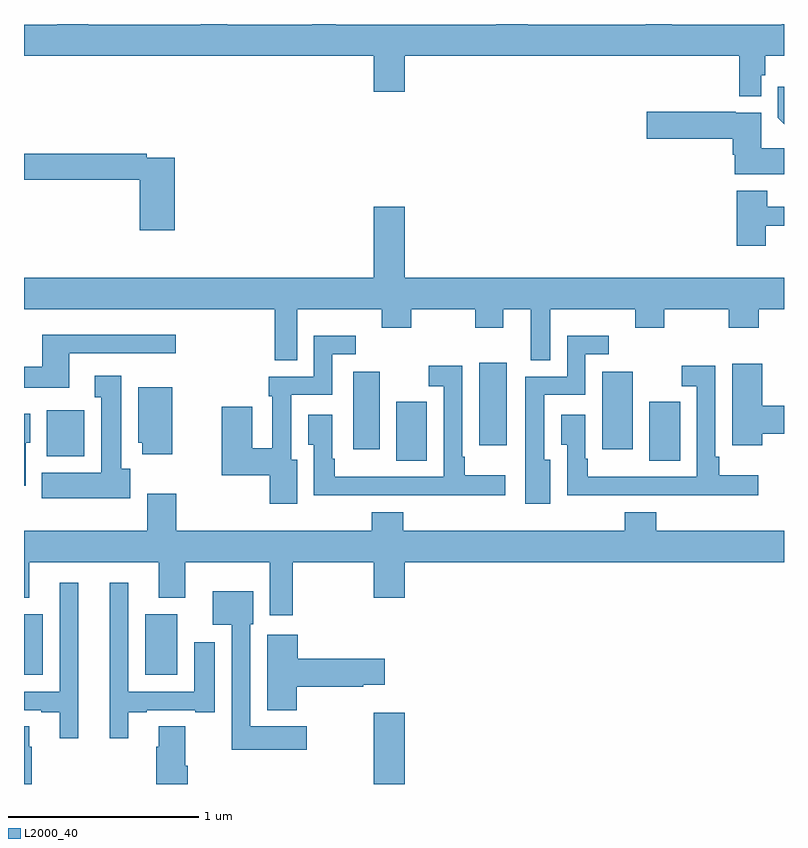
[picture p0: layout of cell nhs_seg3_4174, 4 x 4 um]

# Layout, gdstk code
import gdstk
lib = gdstk.Library(unit=1e-6, precision=1e-09)
def R(c, l, rs):  # rectangles x0, y0, x1, y1
    for r in rs: c.add(gdstk.rectangle(r[:2], r[2:], *l))
def P(c, l, *ps):  # polygons
    for p in ps: c.add(gdstk.Polygon(p, *l))
L2000_40 = (2000, 40)

nhs_seg3_4174 = lib.new_cell('nhs_seg3_4174')
R(nhs_seg3_4174, L2000_40, [(332.84,714.4,333.004,714.775), (331,714.974,331.099,715.294), (331.637,714.974,331.807,715.294), (332.96,716.101,333.121,716.412), (334.292,716.101,334.453,716.412), (331.121,716.126,331.318,716.368), (332.732,716.163,332.872,716.569), (334.043,716.163,334.204,716.569), (333.395,716.184,333.541,716.617)])
P(nhs_seg3_4174, L2000_40, [(334.881,718.131),(334.901,718.131),(334.901,718.232),(335,718.232),(335,718.4),(334.987,718.4),(334.987,718.396),(334.409,718.396),(334.409,718.4),(334.273,718.4),(334.273,718.396),(333.65,718.396),(333.65,718.4),(333.485,718.4),(333.485,718.396),(332.642,718.396),(332.642,718.4),(332.516,718.4),(332.516,718.396),(332.071,718.396),(332.071,718.4),(331.931,718.4),(331.931,718.396),(331.339,718.396),(331.339,718.4),(331.175,718.4),(331.175,718.396),(331,718.396),(331,718.232),(332.84,718.232),(332.84,718.044),(333.004,718.044),(333.004,718.232),(334.765,718.232),(334.765,718.019),(334.881,718.019)],
  [(335,718.069),(334.966,718.069),(334.966,717.906),(335,717.872)],
  [(335,717.746),(334.879,717.746),(334.879,717.934),(334.746,717.934),(334.746,717.939),(334.278,717.939),(334.278,717.797),(334.73,717.797),(334.73,717.713),(334.742,717.713),(334.742,717.608),(335,717.608)],
  [(331.793,717.696),(331.646,717.696),(331.646,717.716),(331,717.716),(331,717.58),(331.61,717.58),(331.61,717.315),(331.793,717.315)],
  [(334.903,717.339),(335,717.339),(335,717.439),(334.911,717.439),(334.911,717.523),(334.751,717.523),(334.751,717.234),(334.903,717.234)],
  [(332.437,716.9),(332.884,716.9),(332.884,716.801),(333.039,716.801),(333.039,716.9),(333.376,716.9),(333.376,716.801),(333.523,716.801),(333.523,716.9),(333.668,716.9),(333.668,716.629),(333.769,716.629),(333.769,716.9),(334.216,716.9),(334.216,716.801),(334.371,716.801),(334.371,716.9),(334.708,716.9),(334.708,716.801),(334.868,716.801),(334.868,716.9),(335,716.9),(335,717.064),(333.004,717.064),(333.004,717.439),(332.84,717.439),(332.84,717.064),(331,717.064),(331,716.9),(332.319,716.9),(332.319,716.629),(332.437,716.629)],
  [(331.237,716.667),(331.798,716.667),(331.798,716.764),(331.097,716.764),(331.097,716.596),(331.001,716.596),(331.001,716.583),(331,716.583),(331,716.486),(331.237,716.486)],
  [(332.437,716.107),(332.407,716.107),(332.407,716.448),(332.622,716.448),(332.622,716.661),(332.746,716.661),(332.746,716.758),(332.526,716.758),(332.526,716.544),(332.289,716.544),(332.289,716.441),(332.306,716.441),(332.306,716.168),(332.2,716.168),(332.2,716.386),(332.042,716.386),(332.042,716.026),(332.294,716.026),(332.294,715.875),(332.437,715.875)],
  [(333.769,716.107),(333.739,716.107),(333.739,716.448),(333.954,716.448),(333.954,716.661),(334.078,716.661),(334.078,716.758),(333.858,716.758),(333.858,716.544),(333.638,716.544),(333.638,715.875),(333.769,715.875)],
  [(334.886,716.243),(335,716.243),(335,716.39),(334.886,716.39),(334.886,716.611),(334.727,716.611),(334.727,716.184),(334.886,716.184)],
  [(334.079,715.92),(334.445,715.92),(334.445,715.919),(334.864,715.919),(334.864,716.026),(334.658,716.026),(334.658,716.122),(334.638,716.122),(334.638,716.602),(334.461,716.602),(334.461,716.493),(334.542,716.493),(334.542,716.016),(334.196,716.016),(334.196,716.017),(333.967,716.017),(333.967,716.113),(333.954,716.113),(333.954,716.344),(333.827,716.344),(333.827,716.185),(333.858,716.185),(333.858,715.919),(334.079,715.919)],
  [(332.747,715.92),(333.113,715.92),(333.113,715.919),(333.532,715.919),(333.532,716.026),(333.319,716.026),(333.319,716.122),(333.306,716.122),(333.306,716.602),(333.129,716.602),(333.129,716.493),(333.21,716.493),(333.21,716.016),(332.864,716.016),(332.864,716.017),(332.635,716.017),(332.635,716.113),(332.622,716.113),(332.622,716.344),(332.495,716.344),(332.495,716.185),(332.526,716.185),(332.526,715.919),(332.747,715.919)],
  [(331.558,716.058),(331.513,716.058),(331.513,716.548),(331.373,716.548),(331.373,716.435),(331.406,716.435),(331.406,716.038),(331.094,716.038),(331.094,715.904),(331.558,715.904)],
  [(331.78,716.488),(331.601,716.488),(331.601,716.196),(331.622,716.196),(331.622,716.136),(331.78,716.136)],
  [(331.009,716.196),(331.033,716.196),(331.033,716.35),(331,716.35),(331,715.97),(331.009,715.97)],
  [(332.415,715.568),(332.84,715.568),(332.84,715.38),(333.004,715.38),(333.004,715.568),(335,715.568),(335,715.732),(334.328,715.732),(334.328,715.831),(334.163,715.831),(334.163,715.732),(332.996,715.732),(332.996,715.831),(332.831,715.831),(332.831,715.732),(331.802,715.732),(331.802,715.927),(331.649,715.927),(331.649,715.732),(331,715.732),(331,715.379),(331.027,715.379),(331.027,715.568),(331.709,715.568),(331.709,715.379),(331.849,715.379),(331.849,715.568),(332.294,715.568),(332.294,715.287),(332.415,715.287)],
  [(331.285,715.459),(331.188,715.459),(331.188,714.885),(331,714.885),(331,714.789),(331.091,714.789),(331.091,714.777),(331.187,714.777),(331.187,714.642),(331.285,714.642)],
  [(331.549,714.777),(331.645,714.777),(331.645,714.789),(331.901,714.789),(331.901,714.777),(332.005,714.777),(332.005,715.147),(331.895,715.147),(331.895,714.885),(331.548,714.885),(331.548,715.459),(331.451,715.459),(331.451,714.642),(331.549,714.642)],
  [(332.488,714.703),(332.19,714.703),(332.19,715.242),(332.206,715.242),(332.206,715.414),(331.994,715.414),(331.994,715.238),(332.094,715.238),(332.094,714.581),(332.488,714.581)],
  [(332.436,714.911),(332.786,714.911),(332.786,714.923),(332.899,714.923),(332.899,715.058),(332.441,715.058),(332.441,715.186),(332.279,715.186),(332.279,714.788),(332.436,714.788)],
  [(331.04,714.596),(331.027,714.596),(331.027,714.704),(331,714.704),(331,714.4),(331.04,714.4)],
  [(331.862,714.496),(331.849,714.496),(331.849,714.704),(331.709,714.704),(331.709,714.596),(331.697,714.596),(331.697,714.4),(331.862,714.4)])

lib.write_gds('nhs_seg3_4174.gds')
